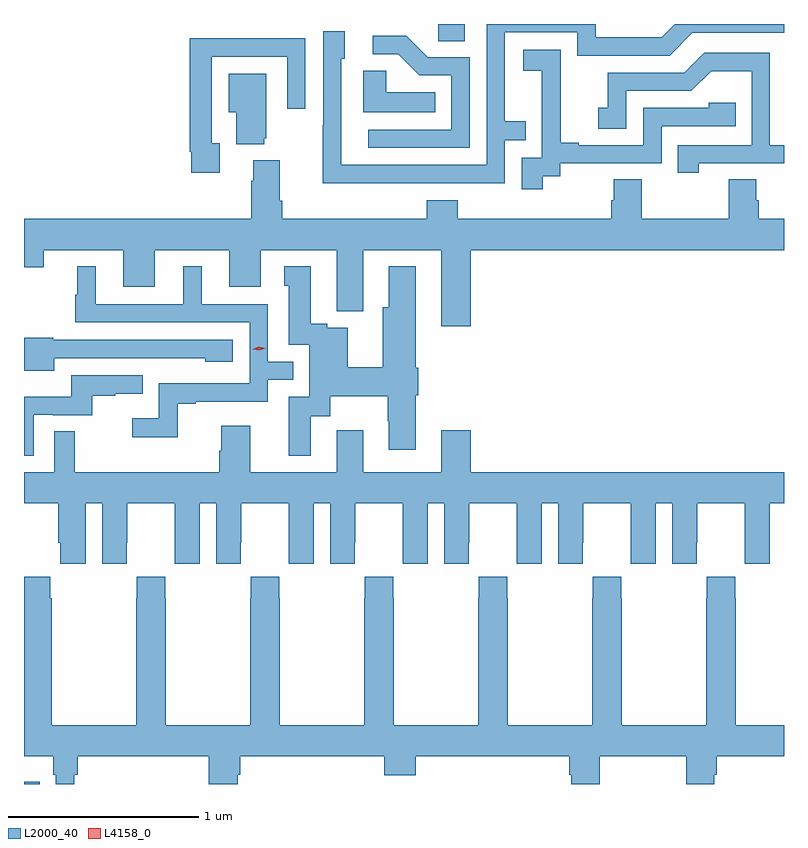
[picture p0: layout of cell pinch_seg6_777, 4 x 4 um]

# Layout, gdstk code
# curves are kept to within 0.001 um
import gdstk
lib = gdstk.Library(unit=1e-6, precision=1e-09)
def R(c, l, rs):  # rectangles x0, y0, x1, y1
    for r in rs: c.add(gdstk.rectangle(r[:2], r[2:], *l))
def P(c, l, *ps):  # polygons
    for p in ps: c.add(gdstk.Polygon(p, *l))
L2000_40 = (2000, 40)
L4158_0 = (4158, 0)

pinch_seg6_777 = lib.new_cell('pinch_seg6_777')
R(pinch_seg6_777, L2000_40, [(192.88,983.154,192.962,983.166), (195.06,987.064,195.199,987.154)])
P(pinch_seg6_777, L2000_40, [(194.915,986.316),(195.411,986.316),(195.411,986.541),(195.521,986.541),(195.521,986.642),(195.411,986.642),(195.411,987.111),(195.792,987.111),(195.792,986.988),(196.278,986.988),(196.398,987.108),(196.88,987.108),(196.88,987.154),(196.306,987.154),(196.236,987.084),(195.889,987.084),(195.889,987.154),(195.315,987.154),(195.315,986.412),(194.55,986.412),(194.55,986.97),(194.569,986.97),(194.569,987.115),(194.454,987.115),(194.454,986.621),(194.452,986.621),(194.452,986.315)],
  [(195.225,986.979),(195.006,986.979),(194.893,987.092),(194.715,987.092),(194.715,986.994),(194.849,986.994),(194.96,986.883),(195.129,986.883),(195.129,986.598),(194.691,986.598),(194.691,986.502),(195.225,986.502)],
  [(193.909,986.526),(193.869,986.526),(193.869,986.982),(194.265,986.982),(194.265,986.709),(194.361,986.709),(194.361,987.078),(194.045,987.078),(194.045,987.08),(193.753,987.08),(193.753,986.482),(193.761,986.482),(193.761,986.37),(193.909,986.37)],
  [(195.61,986.353),(195.702,986.353),(195.702,986.421),(196.236,986.421),(196.236,986.616),(196.625,986.616),(196.625,986.739),(196.485,986.739),(196.485,986.712),(196.14,986.712),(196.14,986.517),(195.799,986.517),(195.799,986.53),(195.704,986.53),(195.704,986.813),(195.705,986.813),(195.705,987.019),(195.507,987.019),(195.507,986.909),(195.605,986.909),(195.605,986.681),(195.606,986.681),(195.606,986.451),(195.501,986.451),(195.501,986.283),(195.61,986.283)],
  [(196.432,986.421),(196.88,986.421),(196.88,986.517),(196.806,986.517),(196.806,987.003),(196.46,987.003),(196.355,986.898),(195.952,986.898),(195.952,986.713),(195.903,986.713),(195.903,986.604),(196.05,986.604),(196.05,986.802),(196.392,986.802),(196.496,986.906),(196.71,986.906),(196.71,986.517),(196.321,986.517),(196.321,986.37),(196.432,986.37)],
  [(195.044,986.794),(194.787,986.794),(194.787,986.909),(194.666,986.909),(194.666,986.69),(195.044,986.69)],
  [(194.144,986.553),(194.155,986.553),(194.155,986.893),(193.958,986.893),(193.958,986.69),(193.997,986.69),(193.997,986.522),(194.144,986.522)],
  [(194.125,985.964),(194.525,985.964),(194.525,985.641),(194.665,985.641),(194.665,985.964),(195.077,985.964),(195.077,985.563),(195.23,985.563),(195.23,985.964),(196.88,985.964),(196.88,986.128),(196.748,986.128),(196.748,986.226),(196.735,986.226),(196.735,986.336),(196.588,986.336),(196.588,986.128),(196.131,986.128),(196.131,986.336),(195.983,986.336),(195.983,986.226),(195.971,986.226),(195.971,986.128),(195.164,986.128),(195.164,986.227),(194.999,986.227),(194.999,986.128),(194.24,986.128),(194.24,986.224),(194.227,986.224),(194.227,986.437),(194.087,986.437),(194.087,986.33),(194.075,986.33),(194.075,986.128),(192.88,986.128),(192.88,985.874),(192.985,985.874),(192.985,985.964),(193.403,985.964),(193.403,985.77),(193.567,985.77),(193.567,985.964),(193.961,985.964),(193.961,985.77),(194.125,985.77)],
  [(193.689,985.155),(193.783,985.155),(193.783,985.167),(194.163,985.167),(194.163,985.281),(194.296,985.281),(194.296,985.377),(194.163,985.377),(194.163,985.68),(193.816,985.68),(193.816,985.879),(193.718,985.879),(193.718,985.68),(193.258,985.68),(193.258,985.879),(193.16,985.879),(193.16,985.728),(193.149,985.728),(193.149,985.584),(194.067,985.584),(194.067,985.263),(193.59,985.263),(193.59,985.078),(193.449,985.078),(193.449,984.98),(193.689,984.98)],
  [(194.389,985.09),(194.491,985.09),(194.491,985.196),(194.794,985.196),(194.794,985.062),(194.801,985.062),(194.801,984.912),(194.941,984.912),(194.941,985.2),(194.954,985.2),(194.954,985.344),(194.941,985.344),(194.941,985.879),(194.801,985.879),(194.801,985.663),(194.768,985.663),(194.768,985.348),(194.584,985.348),(194.584,985.555),(194.475,985.555),(194.475,985.576),(194.389,985.576),(194.389,985.879),(194.249,985.879),(194.249,985.776),(194.273,985.776),(194.273,985.467),(194.382,985.467),(194.382,985.191),(194.273,985.191),(194.273,984.882),(194.389,984.882)],
  [(193.039,985.395),(193.597,985.395),(193.597,985.394),(193.833,985.394),(193.833,985.376),(193.978,985.376),(193.978,985.491),(193.035,985.491),(193.035,985.504),(192.88,985.504),(192.88,985.328),(193.039,985.328)],
  [(192.93,985.098),(193.03,985.098),(193.03,985.095),(193.238,985.095),(193.238,985.197),(193.361,985.197),(193.361,985.208),(193.505,985.208),(193.505,985.305),(193.128,985.305),(193.128,985.193),(192.88,985.193),(192.88,984.881),(192.93,984.881)],
  [(193.204,984.632),(193.292,984.632),(193.292,984.312),(193.422,984.312),(193.422,984.424),(193.423,984.424),(193.423,984.632),(193.673,984.632),(193.673,984.424),(193.674,984.424),(193.674,984.312),(193.804,984.312),(193.804,984.632),(193.892,984.632),(193.892,984.312),(194.022,984.312),(194.022,984.424),(194.023,984.424),(194.023,984.632),(194.273,984.632),(194.273,984.424),(194.274,984.424),(194.274,984.312),(194.404,984.312),(194.404,984.632),(194.492,984.632),(194.492,984.312),(194.622,984.312),(194.622,984.424),(194.623,984.424),(194.623,984.632),(194.873,984.632),(194.873,984.424),(194.874,984.424),(194.874,984.312),(195.004,984.312),(195.004,984.632),(195.092,984.632),(195.092,984.312),(195.222,984.312),(195.222,984.424),(195.223,984.424),(195.223,984.632),(195.473,984.632),(195.473,984.424),(195.474,984.424),(195.474,984.312),(195.604,984.312),(195.604,984.632),(195.692,984.632),(195.692,984.312),(195.822,984.312),(195.822,984.424),(195.823,984.424),(195.823,984.632),(196.073,984.632),(196.073,984.424),(196.074,984.424),(196.074,984.312),(196.204,984.312),(196.204,984.632),(196.292,984.632),(196.292,984.312),(196.422,984.312),(196.422,984.424),(196.423,984.424),(196.423,984.632),(196.673,984.632),(196.673,984.424),(196.674,984.424),(196.674,984.312),(196.804,984.312),(196.804,984.632),(196.88,984.632),(196.88,984.796),(195.23,984.796),(195.23,985.015),(195.077,985.015),(195.077,984.796),(194.665,984.796),(194.665,985.015),(194.525,985.015),(194.525,984.796),(194.071,984.796),(194.071,985.039),(193.919,985.039),(193.919,984.909),(193.907,984.909),(193.907,984.796),(193.147,984.796),(193.147,985.01),(193.038,985.01),(193.038,984.796),(192.88,984.796),(192.88,984.632),(193.061,984.632),(193.061,984.424),(193.07,984.424),(193.07,984.312),(193.204,984.312)],
  [(194.826,984.131),(194.823,984.131),(194.823,984.244),(194.673,984.244),(194.673,984.131),(194.671,984.131),(194.671,983.464),(194.226,983.464),(194.226,984.131),(194.223,984.131),(194.223,984.244),(194.073,984.244),(194.073,984.131),(194.071,984.131),(194.071,983.464),(193.626,983.464),(193.626,984.131),(193.623,984.131),(193.623,984.244),(193.473,984.244),(193.473,984.131),(193.471,984.131),(193.471,983.464),(193.026,983.464),(193.026,984.131),(193.019,984.131),(193.019,984.244),(192.88,984.244),(192.88,983.3),(193.034,983.3),(193.034,983.204),(193.047,983.204),(193.047,983.154),(193.144,983.154),(193.144,983.204),(193.163,983.204),(193.163,983.3),(193.853,983.3),(193.853,983.154),(194.005,983.154),(194.005,983.204),(194.018,983.204),(194.018,983.3),(194.777,983.3),(194.777,983.201),(194.942,983.201),(194.942,983.3),(195.749,983.3),(195.749,983.202),(195.761,983.202),(195.761,983.154),(195.909,983.154),(195.909,983.3),(196.366,983.3),(196.366,983.154),(196.513,983.154),(196.513,983.202),(196.526,983.202),(196.526,983.3),(196.88,983.3),(196.88,983.464),(196.626,983.464),(196.626,984.131),(196.623,984.131),(196.623,984.244),(196.473,984.244),(196.473,984.131),(196.471,984.131),(196.471,983.464),(196.026,983.464),(196.026,984.131),(196.023,984.131),(196.023,984.244),(195.873,984.244),(195.873,984.131),(195.871,984.131),(195.871,983.464),(195.426,983.464),(195.426,984.131),(195.423,984.131),(195.423,984.244),(195.273,984.244),(195.273,984.131),(195.271,984.131),(195.271,983.464),(194.826,983.464)])
P(pinch_seg6_777, L4158_0, [(194.118,985.436),(194.083,985.443),(194.083,985.443),(194.083,985.443),(194.116,985.456),(194.151,985.448),(194.152,985.448),(194.151,985.448)])

lib.write_gds('pinch_seg6_777.gds')
